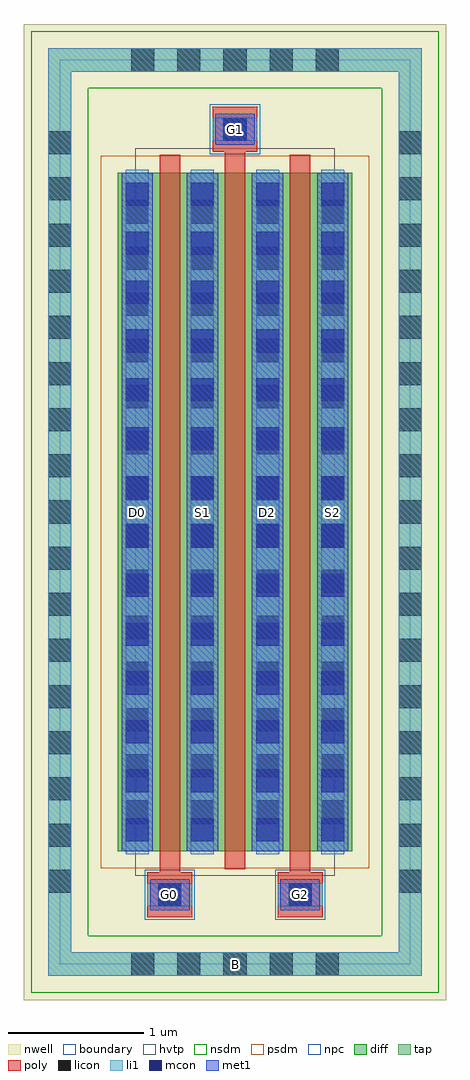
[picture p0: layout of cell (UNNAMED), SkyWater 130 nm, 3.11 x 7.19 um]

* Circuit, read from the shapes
.subckt (UNNAMED) B D0 D2 G0 G1 G2 S1 S2
XM1 S1 G0 D0 B sky130_fd_pr__pfet_01v8_hvt w=5 l=0.15
XM2 D2 G1 S1 B sky130_fd_pr__pfet_01v8_hvt w=5 l=0.15
XM3 S2 G2 D2 B sky130_fd_pr__pfet_01v8_hvt w=5 l=0.15
.ends

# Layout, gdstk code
import gdstk
lib = gdstk.Library(unit=1e-6, precision=1e-09)
def R(c, l, rs):  # rectangles x0, y0, x1, y1
    for r in rs: c.add(gdstk.rectangle(r[:2], r[2:], *l))
def A(c, l, x, y, w, h, nx, ny, dx, dy):  # array of equal rectangles
    R(c, l, [(x+i*dx, y+j*dy, x+i*dx+w, y+j*dy+h) for i in range(nx) for j in range(ny)])
nwell = (64, 20)
diff = (65, 20)
tap = (65, 44)
poly = (66, 20)
licon = (66, 44)
li1 = (67, 20)
mcon = (67, 44)
met1 = (68, 20)
hvtp = (78, 44)
nsdm = (93, 44)
psdm = (94, 20)
npc = (95, 20)
boundary = (235, 4)

c__unnamed_ = lib.new_cell('(UNNAMED)')
R(c__unnamed_, nwell, [(-1.555,-3.595,1.555,3.595)])
R(c__unnamed_, diff, [(-0.865,-2.5,0.865,2.5)])
R(c__unnamed_, tap, [(-1.375,-3.415,1.375,-3.245), (-1.375,-3.245,-1.205,3.245), (1.205,-3.245,1.375,3.245), (-1.375,3.245,1.375,3.415)])
R(c__unnamed_, poly, [(-0.645,-2.985,-0.315,-2.655), (0.315,-2.985,0.645,-2.655), (-0.555,-2.655,-0.405,2.63), (0.405,-2.655,0.555,2.63), (-0.075,-2.63,0.075,2.655), (-0.165,2.655,0.165,2.985)])
A(c__unnamed_, licon, -0.765, -3.415, 0.17, 0.17, 5, 2, 0.34, 6.66)
A(c__unnamed_, licon, -1.375, -2.805, 0.17, 0.17, 1, 17, 0, 0.34)
A(c__unnamed_, licon, 1.205, -2.805, 0.17, 0.17, 1, 17, 0, 0.34)
A(c__unnamed_, licon, -0.805, -2.295, 0.17, 0.17, 4, 14, 0.48, 0.34)
R(c__unnamed_, licon, [(-0.565,-2.905,-0.395,-2.735), (0.395,-2.905,0.565,-2.735), (-0.085,2.735,0.085,2.905)])
A(c__unnamed_, li1, -0.805, -2.52, 0.17, 5.04, 4, 1, 0.48, 0)
R(c__unnamed_, li1, [(-1.375,-3.415,1.375,-3.245), (-1.375,-3.245,-1.205,3.245), (1.205,-3.245,1.375,3.245), (-0.645,-2.905,-0.315,-2.735), (0.315,-2.905,0.645,-2.735), (-0.165,2.735,0.165,2.905), (-1.375,3.245,1.375,3.415)])
A(c__unnamed_, mcon, -0.805, -2.425, 0.17, 0.17, 4, 14, 0.48, 0.36)
R(c__unnamed_, mcon, [(-0.565,-2.905,-0.395,-2.735), (0.395,-2.905,0.565,-2.735), (-0.085,2.735,0.085,2.905)])
A(c__unnamed_, met1, -0.835, -2.5, 0.23, 5, 4, 1, 0.48, 0)
R(c__unnamed_, met1, [(-0.625,-2.935,-0.335,-2.705), (0.335,-2.935,0.625,-2.705), (-0.145,2.705,0.145,2.935)])
R(c__unnamed_, hvtp, [(-0.735,-2.68,0.735,2.68)])
R(c__unnamed_, nsdm, [(-1.5,-3.54,1.5,-3.12), (-1.5,-3.12,-1.08,3.12), (1.08,-3.12,1.5,3.12), (-1.5,3.12,1.5,3.54)])
R(c__unnamed_, psdm, [(-0.99,-2.625,0.99,2.625)])
R(c__unnamed_, npc, [(-0.665,-3.005,-0.295,-2.635), (0.295,-3.005,0.665,-2.635), (-0.185,2.635,0.185,3.005)])
R(c__unnamed_, boundary, [(-1.29,-3.33,1.29,3.33)])
c__unnamed_.add(gdstk.Label('B', (0,-3.33), layer=67, texttype=5))
c__unnamed_.add(gdstk.Label('D0', (-0.72,0), layer=67, texttype=5))
c__unnamed_.add(gdstk.Label('G0', (-0.48,-2.82), layer=67, texttype=5))
c__unnamed_.add(gdstk.Label('S1', (-0.24,0), layer=67, texttype=5))
c__unnamed_.add(gdstk.Label('G1', (0,2.82), layer=67, texttype=5))
c__unnamed_.add(gdstk.Label('D2', (0.24,0), layer=67, texttype=5))
c__unnamed_.add(gdstk.Label('S2', (0.72,0), layer=67, texttype=5))
c__unnamed_.add(gdstk.Label('G2', (0.48,-2.82), layer=67, texttype=5))

lib.write_gds('_UNNAMED_.gds')
